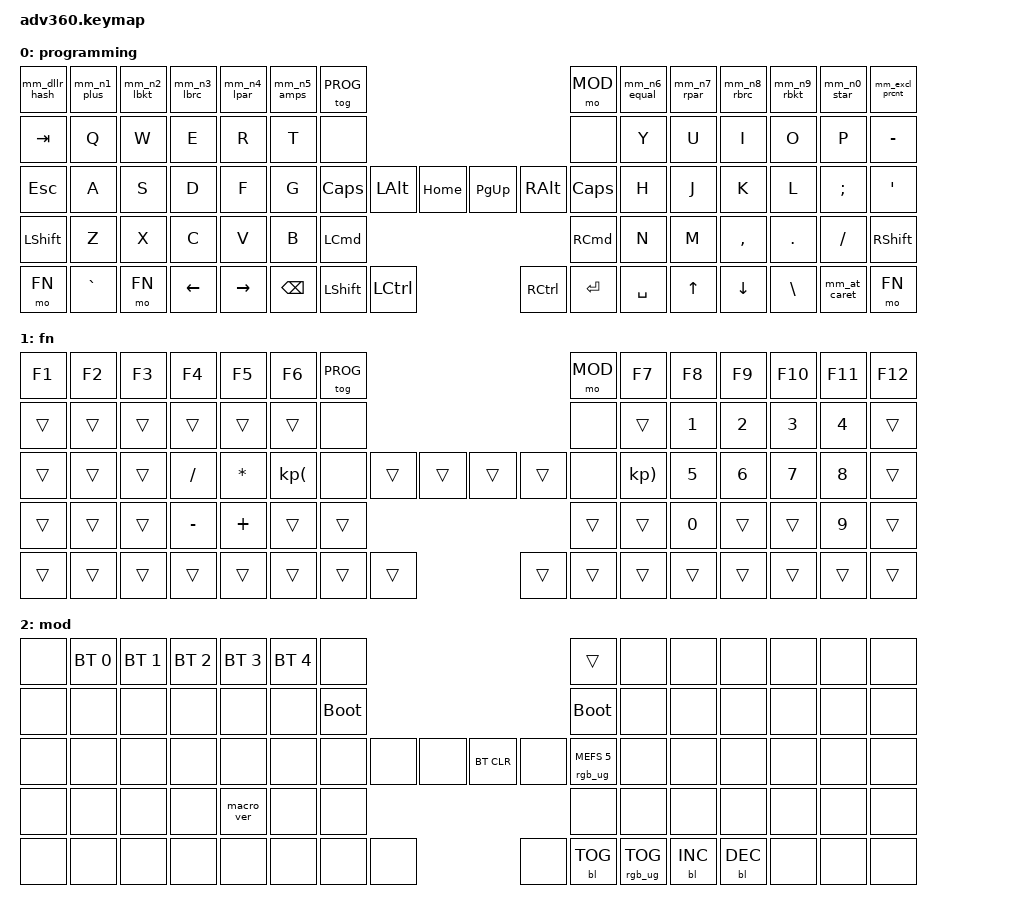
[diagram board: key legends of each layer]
#include <behaviors.dtsi>
#include <dt-bindings/zmk/keys.h>
#include <dt-bindings/zmk/bt.h>
#include <dt-bindings/zmk/rgb.h>
#include <dt-bindings/zmk/backlight.h>

#define PROG 0
#define FN 1
#define MOD 2

#define MM_F &mm_dllr_hash
#define MM_1 &mm_n1_plus
#define MM_2 &mm_n2_lbkt
#define MM_3 &mm_n3_lbrc
#define MM_4 &mm_n4_lpar
#define MM_5 &mm_n5_amps
#define MM_6 &mm_n6_equal
#define MM_7 &mm_n7_rpar
#define MM_8 &mm_n8_rbrc
#define MM_9 &mm_n9_rbkt
#define MM_0 &mm_n0_star
#define MM_L &mm_excl_prcnt

#define MM_AC &mm_at_caret

#define KP_FS &kp FSLH
#define KP_ST &kp STAR
#define KP_LP &kp KP_LPAR
#define KP_RP &kp KP_RPAR
#define KP_MN &kp MINUS
#define KP_PL &kp PLUS


/ {
    behaviors {
      #include "macros.dtsi"
      #include "behaviors.dtsi"
      #include "version.dtsi"
      
      #ifndef VERSION_MACRO
      macro_ver: macro_ver {
        compatible = "zmk,behavior-macro";
        label = "macro_version";
        #binding-cells = <0>;
        bindings = <&kp RET>;
      };
      #endif

      hm: homerow_mods {
          compatible = "zmk,behavior-hold-tap";
          label = "HOMEROW_MODS";
          #binding-cells = <2>;
          tapping-term-ms = <200>;
          quick_tap_ms = <175>;
          flavor = "tap-preferred";
          bindings = <&kp>, <&kp>;
      };
    };

  keymap {
    compatible = "zmk,keymap";

    programming {
      bindings = <
        MM_F      MM_1      MM_2     MM_3     MM_4       MM_5   &tog PROG                                                      &mo MOD MM_6   MM_7   MM_8      MM_9     MM_0     MM_L 
        &kp TAB   &kp Q     &kp W    &kp E    &kp R      &kp T  &none                                                          &none   &kp Y  &kp U  &kp I     &kp O    &kp P    &kp MINUS
        &kp ESC   &kp A     &kp S    &kp D    &kp F      &kp G  &kp CAPS     &kp LEFT_ALT &kp HOME &kp PG_UP &kp RIGHT_ALT    &kp CAPS &kp H  &kp J  &kp K     &kp L    &kp SEMI &kp SQT
        &kp LSHFT &kp Z     &kp X    &kp C    &kp V      &kp B                    &kp LEFT_COMMAND &kp RIGHT_COMMAND                   &kp N  &kp M  &kp COMMA &kp DOT  &kp FSLH &kp RSHFT
        &mo FN    &kp GRAVE &mo FN   &kp LEFT &kp RIGHT               &kp BKSP &kp LSHFT &kp LCTRL &kp RCTRL &kp ENTER &kp SPACE              &kp UP  &kp DOWN &kp BSLH MM_AC    &mo FN
      >;
    };
    fn {
      bindings = <
        &kp F1 &kp F2 &kp F3 &kp F4 &kp F5 &kp F6 &tog PROG                                      &mo MOD &kp F7 &kp F8 &kp F9 &kp F10 &kp F11 &kp F12
        &trans &trans &trans &trans &trans &trans  &none                                           &none &trans &kp N1 &kp N2 &kp N3  &kp N4  &trans
        &trans &trans &trans KP_FS  KP_ST  KP_LP   &none        &trans &trans &trans &trans        &none KP_RP  &kp N5 &kp N6 &kp N7  &kp N8  &trans
        &trans &trans &trans KP_MN  KP_PL  &trans                      &trans &trans                     &trans &kp N0 &trans &trans  &kp N9  &trans
        &trans &trans &trans &trans &trans               &trans &trans &trans &trans &trans &trans              &trans &trans &trans  &trans  &trans
      >;
    };
    mod {
      bindings = <
        &none &bt BT_SEL 0 &bt BT_SEL 1 &bt BT_SEL 2 &bt BT_SEL 3 &bt BT_SEL 4 &none                                                                     &trans                 &none        &none        &none        &none &none &none
        &none &none        &none        &none        &none        &none        &bootloader                                                               &bootloader            &none        &none        &none        &none &none &none
        &none &none        &none        &none        &none        &none        &none                   &none &none &bt BT_CLR &none                      &rgb_ug RGB_MEFS_CMD 5 &none        &none        &none        &none &none &none
        &none &none        &none        &none        &macro_ver   &none                                      &none &none                                                        &none        &none        &none        &none &none &none
        &none &none        &none        &none        &none                                       &none &none &none &none      &bl BL_TOG &rgb_ug RGB_TOG                                     &bl BL_INC   &bl BL_DEC   &none &none &none
      >;
    };
  };
};
